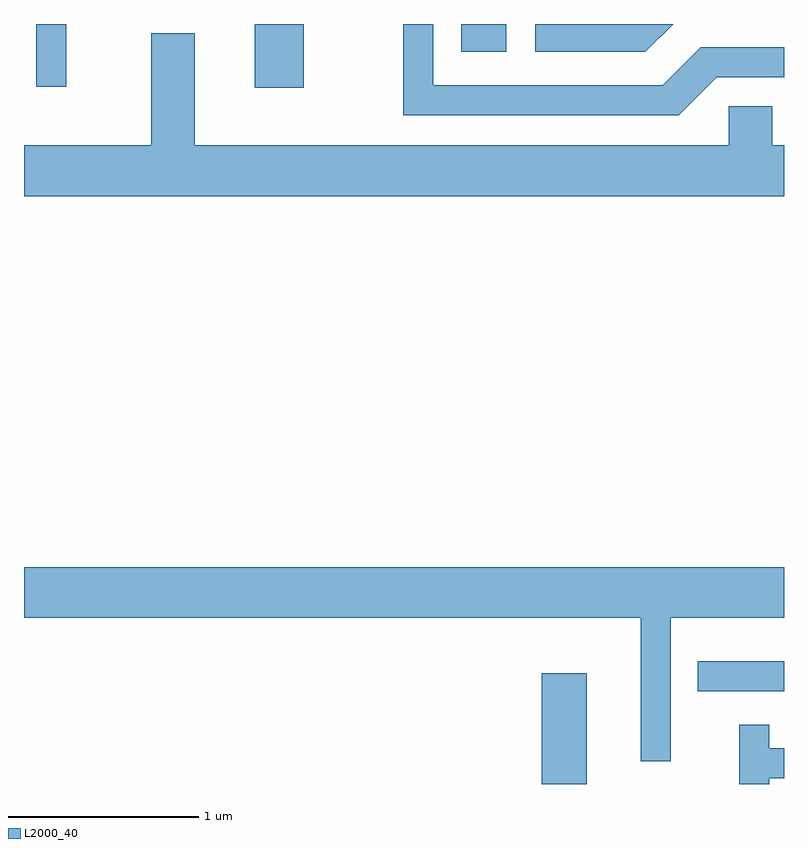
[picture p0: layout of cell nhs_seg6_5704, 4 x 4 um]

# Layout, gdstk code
import gdstk
lib = gdstk.Library(unit=1e-6, precision=1e-09)
def R(c, l, rs):  # rectangles x0, y0, x1, y1
    for r in rs: c.add(gdstk.rectangle(r[:2], r[2:], *l))
def P(c, l, *ps):  # polygons
    for p in ps: c.add(gdstk.Polygon(p, *l))
L2000_40 = (2000, 40)

nhs_seg6_5704 = lib.new_cell('nhs_seg6_5704')
R(nhs_seg6_5704, L2000_40, [(360.336,1660.162,360.574,1660.744), (361.158,1660.651,361.611,1660.809), (358.826,1663.826,359.084,1664.162), (357.676,1663.833,357.834,1664.162), (359.913,1664.016,360.149,1664.162)])
P(nhs_seg6_5704, L2000_40, [(361.257,1663.881),(361.611,1663.881),(361.611,1664.039),(361.174,1664.039),(360.974,1663.839),(359.764,1663.839),(359.764,1664.162),(359.606,1664.162),(359.606,1663.681),(361.057,1663.681)],
  [(361.028,1664.162),(360.301,1664.162),(360.301,1664.016),(360.882,1664.016)],
  [(361.611,1663.524),(361.549,1663.524),(361.549,1663.729),(361.321,1663.729),(361.321,1663.524),(358.509,1663.524),(358.509,1664.114),(358.281,1664.114),(358.281,1663.524),(357.611,1663.524),(357.611,1663.256),(361.611,1663.256)],
  [(361.014,1661.036),(361.611,1661.036),(361.611,1661.304),(357.611,1661.304),(357.611,1661.036),(360.856,1661.036),(360.856,1660.283),(361.014,1660.283)],
  [(361.534,1660.191),(361.611,1660.191),(361.611,1660.349),(361.534,1660.349),(361.534,1660.473),(361.376,1660.473),(361.376,1660.162),(361.534,1660.162)])

lib.write_gds('nhs_seg6_5704.gds')
